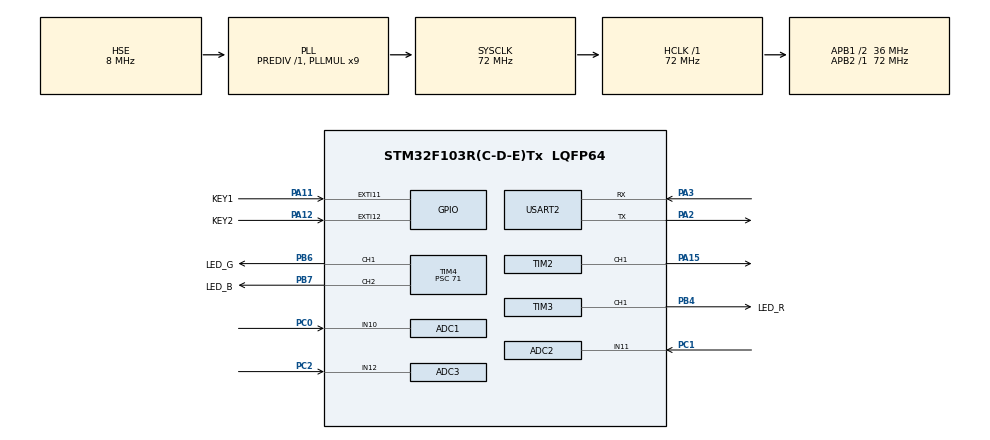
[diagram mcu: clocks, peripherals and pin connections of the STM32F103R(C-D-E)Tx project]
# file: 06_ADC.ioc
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ADC1.Channel-10\#ChannelRegularConversion=ADC_CHANNEL_10
ADC1.NbrOfConversionFlag=1
ADC1.Rank-10\#ChannelRegularConversion=1
ADC1.SamplingTime-10\#ChannelRegularConversion=ADC_SAMPLETIME_1CYCLE_5
ADC1.master=1
ADC2.Channel-0\#ChannelRegularConversion=ADC_CHANNEL_11
ADC2.NbrOfConversionFlag=1
ADC2.Rank-0\#ChannelRegularConversion=1
ADC2.SamplingTime-0\#ChannelRegularConversion=ADC_SAMPLETIME_1CYCLE_5
ADC3.Channel-0\#ChannelRegularConversion=ADC_CHANNEL_12
ADC3.NbrOfConversionFlag=1
ADC3.Rank-0\#ChannelRegularConversion=1
ADC3.SamplingTime-0\#ChannelRegularConversion=ADC_SAMPLETIME_1CYCLE_5
Mcu.Family=STM32F1
Mcu.Name=STM32F103R(C-D-E)Tx
Mcu.Package=LQFP64
NVIC.PriorityGroup=NVIC_PRIORITYGROUP_4
NVIC.USART2_IRQn=true\:0\:0\:false\:false\:true\:true\:true\:true
PA11.GPIO_Label=KEY1
PA11.GPIO_ModeDefaultEXTI=GPIO_MODE_IT_RISING_FALLING
PA11.GPIO_PuPd=GPIO_PULLUP
PA11.Signal=GPXTI11
PA12.GPIO_Label=KEY2
PA12.GPIO_ModeDefaultEXTI=GPIO_MODE_IT_RISING_FALLING
PA12.GPIO_PuPd=GPIO_PULLUP
PA12.Signal=GPXTI12
PA13.Mode=Serial_Wire
PA13.Signal=SYS_JTMS-SWDIO
PA14.Mode=Serial_Wire
PA14.Signal=SYS_JTCK-SWCLK
PA15.GPIO_Speed=GPIO_SPEED_FREQ_HIGH
PA15.Signal=S_TIM2_CH1_ETR
PA2.Mode=Asynchronous
PA2.Signal=USART2_TX
PA3.Mode=Asynchronous
PA3.Signal=USART2_RX
PB4.GPIO_Label=LED_R
PB4.GPIO_Speed=GPIO_SPEED_FREQ_HIGH
PB4.Signal=S_TIM3_CH1
PB6.GPIO_Label=LED_G
PB6.GPIO_Speed=GPIO_SPEED_FREQ_HIGH
PB6.Signal=S_TIM4_CH1
PB7.GPIO_Label=LED_B
PB7.GPIO_Speed=GPIO_SPEED_FREQ_HIGH
PB7.Signal=S_TIM4_CH2
PC0.Signal=ADCx_IN10
PC1.Signal=ADCx_IN11
PC2.Signal=ADCx_IN12
PD0-OSC_IN.Mode=HSE-External-Oscillator
PD0-OSC_IN.Signal=RCC_OSC_IN
PD1-OSC_OUT.Mode=HSE-External-Oscillator
PD1-OSC_OUT.Signal=RCC_OSC_OUT
ProjectManager.HeapSize=0x200
ProjectManager.StackSize=0x400
ProjectManager.TargetToolchain=MDK-ARM V5.32
RCC.ADCPresc=RCC_ADCPCLK2_DIV6
RCC.AHBFreq_Value=72000000
RCC.APB1CLKDivider=RCC_HCLK_DIV2
RCC.APB1Freq_Value=36000000
RCC.APB1TimFreq_Value=72000000
RCC.APB2Freq_Value=72000000
RCC.APB2TimFreq_Value=72000000
RCC.HCLKFreq_Value=72000000
RCC.PLLMUL=RCC_PLL_MUL9
RCC.PLLSourceVirtual=RCC_PLLSOURCE_HSE
RCC.SYSCLKFreq_VALUE=72000000
RCC.SYSCLKSource=RCC_SYSCLKSOURCE_PLLCLK
RCC.USBFreq_Value=72000000
SH.ADCx_IN10.0=ADC1_IN10,IN10
SH.ADCx_IN11.0=ADC2_IN11,IN11
SH.ADCx_IN12.0=ADC3_IN12,IN12
SH.S_TIM2_CH1_ETR.0=TIM2_CH1,PWM Generation1 CH1
SH.S_TIM3_CH1.0=TIM3_CH1,PWM Generation1 CH1
SH.S_TIM4_CH1.0=TIM4_CH1,PWM Generation1 CH1
SH.S_TIM4_CH2.0=TIM4_CH2,PWM Generation2 CH2
TIM1.AutoReloadPreload=TIM_AUTORELOAD_PRELOAD_ENABLE
TIM1.Period=9999
TIM1.Prescaler=71
TIM2.Channel-PWM\ Generation1\ CH1=TIM_CHANNEL_1
TIM2.OCPolarity_1=TIM_OCPOLARITY_LOW
TIM2.Period=99
TIM2.Prescaler=71
TIM3.AutoReloadPreload=TIM_AUTORELOAD_PRELOAD_ENABLE
TIM3.Channel-PWM\ Generation1\ CH1=TIM_CHANNEL_1
TIM3.OCPolarity_1=TIM_OCPOLARITY_LOW
TIM3.Period=4999
TIM3.Prescaler=71
TIM4.AutoReloadPreload=TIM_AUTORELOAD_PRELOAD_ENABLE
TIM4.Channel-PWM\ Generation1\ CH1=TIM_CHANNEL_1
TIM4.Channel-PWM\ Generation2\ CH2=TIM_CHANNEL_2
TIM4.OCPolarity_1=TIM_OCPOLARITY_LOW
TIM4.OCPolarity_2=TIM_OCPOLARITY_LOW
TIM4.Period=4999
TIM4.Prescaler=71
USART2.VirtualMode=VM_ASYNC
VP_TIM1_VS_ClockSourceINT.Mode=Internal
VP_TIM2_VS_ClockSourceINT.Mode=Internal
VP_TIM3_VS_ClockSourceINT.Mode=Internal
VP_TIM4_VS_ClockSourceINT.Mode=Internal
board=custom

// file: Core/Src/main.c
/* USER CODE BEGIN Header */
/**
  ******************************************************************************
  * @file           : main.c
  * @brief          : Main program body
  ******************************************************************************
  * @attention
  *
  * Copyright (c) 2025 STMicroelectronics.
  * All rights reserved.
  *
  * This software is licensed under terms that can be found in the LICENSE file
  * in the root directory of this software component.
  * If no LICENSE file comes with this software, it is provided AS-IS.
  *
  ******************************************************************************
  */
/* USER CODE END Header */
#include "main.h"
#include "adc.h"
#include "tim.h"
#include "usart.h"
#include "gpio.h"

/* USER CODE BEGIN PV */
uint16_t adc_val[3] = {0};
float temp = 0;
float voltage[3] = {0};
float r = 0;

/* USER CODE END PV */

void SystemClock_Config(void);

int main(void)
{

  /* MCU Configuration--------------------------------------------------------*/

  /* Reset of all peripherals, Initializes the Flash interface and the Systick. */
  HAL_Init();

  /* Configure the system clock */
  SystemClock_Config();

  /* Initialize all configured peripherals */
  MX_GPIO_Init();
  MX_TIM1_Init();
  MX_TIM3_Init();
  MX_TIM4_Init();
  MX_TIM2_Init();
  MX_USART2_UART_Init();
  MX_ADC1_Init();
  MX_ADC2_Init();
  MX_ADC3_Init();

  /* Infinite loop */
  /* USER CODE BEGIN WHILE */
  while (1)
  {
    HAL_ADC_Start(&hadc1);
    HAL_ADC_PollForConversion(&hadc1,0xffffff);
    if(HAL_IS_BIT_SET(HAL_ADC_GetState(&hadc1),HAL_ADC_STATE_REG_EOC)){
      adc_val[0] = HAL_ADC_GetValue(&hadc1);
    }
    HAL_ADC_Start(&hadc2);
    HAL_ADC_PollForConversion(&hadc2,0xffffff);
    if(HAL_IS_BIT_SET(HAL_ADC_GetState(&hadc2),HAL_ADC_STATE_REG_EOC)){
      adc_val[1] = HAL_ADC_GetValue(&hadc2);
    }
    HAL_ADC_Start(&hadc3);
    HAL_ADC_PollForConversion(&hadc3,0xffffff);
    if(HAL_IS_BIT_SET(HAL_ADC_GetState(&hadc3),HAL_ADC_STATE_REG_EOC)){
      adc_val[2] = HAL_ADC_GetValue(&hadc3);
    }
    for(uint8_t i = 0;i<3;i++)
    {
      voltage[i] = (adc_val[i] * 3.3) / 4096.0;
    }
    r = (100.0 * voltage[1]) / (3.3 -voltage[1]);
    MyPrintf("%f,%f,%f\r\n",voltage[0],r,voltage[2]);
    HAL_Delay(200);
    /* USER CODE END WHILE */

  }
}

void SystemClock_Config(void)
{
  RCC_OscInitTypeDef RCC_OscInitStruct = {0};
  RCC_ClkInitTypeDef RCC_ClkInitStruct = {0};
  RCC_PeriphCLKInitTypeDef PeriphClkInit = {0};

  /** Initializes the RCC Oscillators according to the specified parameters
  * in the RCC_OscInitTypeDef structure.
  */
  RCC_OscInitStruct.OscillatorType = RCC_OSCILLATORTYPE_HSE;
  RCC_OscInitStruct.HSEState = RCC_HSE_ON;
  RCC_OscInitStruct.HSEPredivValue = RCC_HSE_PREDIV_DIV1;
  RCC_OscInitStruct.HSIState = RCC_HSI_ON;
  RCC_OscInitStruct.PLL.PLLState = RCC_PLL_ON;
  RCC_OscInitStruct.PLL.PLLSource = RCC_PLLSOURCE_HSE;
  RCC_OscInitStruct.PLL.PLLMUL = RCC_PLL_MUL9;
  if (HAL_RCC_OscConfig(&RCC_OscInitStruct) != HAL_OK)
  {
    Error_Handler();
  }

  /** Initializes the CPU, AHB and APB buses clocks
  */
  RCC_ClkInitStruct.ClockType = RCC_CLOCKTYPE_HCLK|RCC_CLOCKTYPE_SYSCLK
                              |RCC_CLOCKTYPE_PCLK1|RCC_CLOCKTYPE_PCLK2;
  RCC_ClkInitStruct.SYSCLKSource = RCC_SYSCLKSOURCE_PLLCLK;
  RCC_ClkInitStruct.AHBCLKDivider = RCC_SYSCLK_DIV1;
  RCC_ClkInitStruct.APB1CLKDivider = RCC_HCLK_DIV2;
  RCC_ClkInitStruct.APB2CLKDivider = RCC_HCLK_DIV1;

  if (HAL_RCC_ClockConfig(&RCC_ClkInitStruct, FLASH_LATENCY_2) != HAL_OK)
  {
    Error_Handler();
  }
  PeriphClkInit.PeriphClockSelection = RCC_PERIPHCLK_ADC;
  PeriphClkInit.AdcClockSelection = RCC_ADCPCLK2_DIV6;
  if (HAL_RCCEx_PeriphCLKConfig(&PeriphClkInit) != HAL_OK)
  {
    Error_Handler();
  }
}

void Error_Handler(void)
{
  __disable_irq();
  while (1)
  {
  }
}
